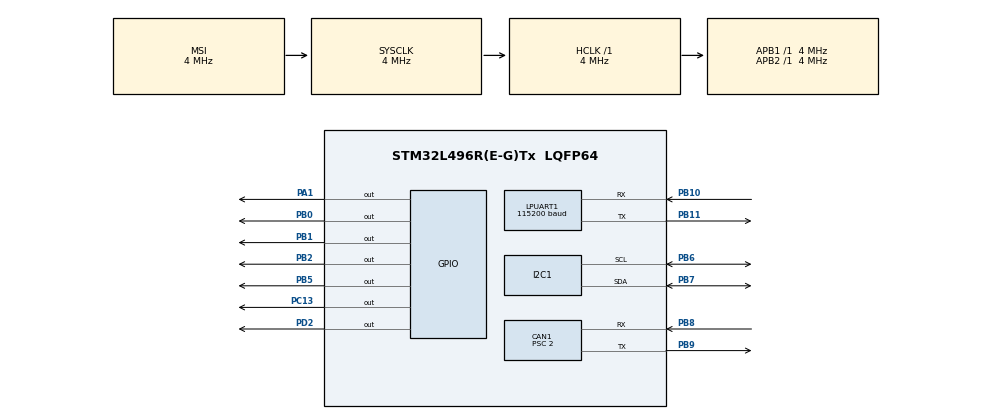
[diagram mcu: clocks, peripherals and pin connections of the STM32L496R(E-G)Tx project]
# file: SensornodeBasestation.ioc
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CAN1.BS1=CAN_BS1_6TQ
CAN1.BS2=CAN_BS2_8TQ
CAN1.CalculateTimeBit=7500
CAN1.CalculateTimeQuantum=500.0
CAN1.Mode=CAN_MODE_SILENT
CAN1.Prescaler=2
LPUART1.BaudRate=115200
LPUART1.DMADisableonRxErrorParam=UART_ADVFEATURE_DMA_DISABLEONRXERROR
LPUART1.OverrunDisableParam=UART_ADVFEATURE_OVERRUN_DISABLE
LPUART1.WordLength=UART_WORDLENGTH_8B
Mcu.Family=STM32L4
Mcu.Name=STM32L496R(E-G)Tx
Mcu.Package=LQFP64
NVIC.CAN1_RX0_IRQn=true\:0\:0\:false\:true\:true\:1\:true
NVIC.CAN1_TX_IRQn=true\:0\:0\:false\:true\:true\:2\:true
NVIC.FPU_IRQn=true\:0\:0\:false\:false\:true\:true
NVIC.LPUART1_IRQn=true\:0\:0\:false\:false\:true\:true
NVIC.PriorityGroup=NVIC_PRIORITYGROUP_4
NVIC.RCC_IRQn=true\:0\:0\:false\:false\:true\:true
NVIC.TIM2_IRQn=true\:0\:0\:false\:false\:true\:true
PA1.Signal=GPIO_Output
PB0.Signal=GPIO_Output
PB1.Signal=GPIO_Output
PB10.Mode=Asynchronous
PB10.Signal=LPUART1_RX
PB11.Mode=Asynchronous
PB11.Signal=LPUART1_TX
PB2.Signal=GPIO_Output
PB5.PinState=GPIO_PIN_RESET
PB5.Signal=GPIO_Output
PB6.Mode=I2C
PB6.Signal=I2C1_SCL
PB7.Mode=I2C
PB7.Signal=I2C1_SDA
PB8.Mode=Master
PB8.Signal=CAN1_RX
PB9.Mode=Master
PB9.Signal=CAN1_TX
PC13.PinState=GPIO_PIN_SET
PC13.Signal=GPIO_Output
PD2.Signal=GPIO_Output
ProjectManager.HeapSize=0x200
ProjectManager.StackSize=0x400
ProjectManager.TargetToolchain=SW4STM32
RCC.ADCFreq_Value=16000000
RCC.AHBFreq_Value=4000000
RCC.APB1Freq_Value=4000000
RCC.APB1TimFreq_Value=4000000
RCC.APB2Freq_Value=4000000
RCC.APB2TimFreq_Value=4000000
RCC.CortexFreq_Value=4000000
RCC.HCLKFreq_Value=4000000
RCC.HSE_VALUE=8000000
RCC.HSI48_VALUE=48000000
RCC.HSI_VALUE=16000000
RCC.LSE_VALUE=32768
RCC.MSI_VALUE=4000000
RCC.SYSCLKFreq_VALUE=4000000
RCC.USBFreq_Value=16000000
RCC.VCOOutputFreq_Value=32000000
TIM2.Period=5000
TIM2.Prescaler=4000
VP_TIM2_VS_ClockSourceINT.Mode=Internal
board=SensornodeBasestation

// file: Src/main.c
/**
  ******************************************************************************
  * File Name          : main.c
  * Description        : Main program body
  ******************************************************************************
  ** This notice applies to any and all portions of this file
  * that are not between comment pairs USER CODE BEGIN and
  * USER CODE END. Other portions of this file, whether
  * inserted by the user or by software development tools
  * are owned by their respective copyright owners.
  *
  * COPYRIGHT(c) 2018 STMicroelectronics
  *
  * Redistribution and use in source and binary forms, with or without modification,
  * are permitted provided that the following conditions are met:
  *   1. Redistributions of source code must retain the above copyright notice,
  *      this list of conditions and the following disclaimer.
  *   2. Redistributions in binary form must reproduce the above copyright notice,
  *      this list of conditions and the following disclaimer in the documentation
  *      and/or other materials provided with the distribution.
  *   3. Neither the name of STMicroelectronics nor the names of its contributors
  *      may be used to endorse or promote products derived from this software
  *      without specific prior written permission.
  *
  * THIS SOFTWARE IS PROVIDED BY THE COPYRIGHT HOLDERS AND CONTRIBUTORS "AS IS"
  * AND ANY EXPRESS OR IMPLIED WARRANTIES, INCLUDING, BUT NOT LIMITED TO, THE
  * IMPLIED WARRANTIES OF MERCHANTABILITY AND FITNESS FOR A PARTICULAR PURPOSE ARE
  * DISCLAIMED. IN NO EVENT SHALL THE COPYRIGHT HOLDER OR CONTRIBUTORS BE LIABLE
  * FOR ANY DIRECT, INDIRECT, INCIDENTAL, SPECIAL, EXEMPLARY, OR CONSEQUENTIAL
  * DAMAGES (INCLUDING, BUT NOT LIMITED TO, PROCUREMENT OF SUBSTITUTE GOODS OR
  * SERVICES; LOSS OF USE, DATA, OR PROFITS; OR BUSINESS INTERRUPTION) HOWEVER
  * CAUSED AND ON ANY THEORY OF LIABILITY, WHETHER IN CONTRACT, STRICT LIABILITY,
  * OR TORT (INCLUDING NEGLIGENCE OR OTHERWISE) ARISING IN ANY WAY OUT OF THE USE
  * OF THIS SOFTWARE, EVEN IF ADVISED OF THE POSSIBILITY OF SUCH DAMAGE.
  *
  ******************************************************************************
  */
#include "main.h"
#include "stm32l4xx_hal.h"
#include "can.h"
#include "i2c.h"
#include "usart.h"
#include "tim.h"
#include "gpio.h"

/* USER CODE BEGIN Includes */
#include <string.h>

#define NODEID 1 // id of sensor node
#define SHT_ADDRESS (0x44 << 1) // I2C address of SHT31-DIS-B sensor
#define SHT_MEASURE_COMMAND 0x2400 // measurement command for SHT31-DIS-B sensor
/* USER CODE END Includes */

/* USER CODE BEGIN PV */
/* Private variables ---------------------------------------------------------*/
static uint8_t shtMeasureData[5]; // measurement data (temperature and humidity) from SHT31-DIS-B sensor
static uint16_t st; // raw sensor output for temperature
static uint16_t srh; // raw sensor output for humidity
static float temperature; // value of temperature
static uint8_t humidity; // value of humidity

static CanTxMsgTypeDef txMessage;
static CanRxMsgTypeDef rxMessage;
static CAN_FilterConfTypeDef  filterConfig;

static char nodeId[3]; // id of sensor node
static char topic[30]; // MQTT topic name

uint8_t timer2Lock = 1;
uint8_t canLock = 1;
/* USER CODE END PV */

void SystemClock_Config(void);
static void MX_NVIC_Init(void);

/* USER CODE BEGIN PFP */
/* Private function prototypes -----------------------------------------------*/
void esp8266Init();
void canInit();
void i2cInit();
void timerInit();
void CANFilter(CAN_FilterConfTypeDef *filter);
float readTemperature();
uint8_t readHumidity();
void readCan();
void setTopic(char subTopic[]);
void send(char topic[], float value);
/* USER CODE END PFP */

int main(void)
{

  /* USER CODE BEGIN 1 */
  sprintf(nodeId, "%d", NODEID); // save node id into a character array
  /* USER CODE END 1 */

  /* MCU Configuration----------------------------------------------------------*/

  /* Reset of all peripherals, Initializes the Flash interface and the Systick. */
  HAL_Init();

  /* Configure the system clock */
  SystemClock_Config();

  /* Initialize all configured peripherals */
  MX_GPIO_Init();
  MX_CAN1_Init();
  MX_I2C1_Init();
  MX_LPUART1_UART_Init();
  MX_TIM2_Init();

  /* Initialize interrupts */
  MX_NVIC_Init();

  /* USER CODE BEGIN 2 */
  esp8266Init();
  canInit();
  i2cInit();
  timerInit();
  /* USER CODE END 2 */

  /* Infinite loop */
  /* USER CODE BEGIN WHILE */
  while (1)
  {
	  if (timer2Lock == 0){
		  temperature = readTemperature();
		  humidity = readHumidity();

		  setTopic("temperature");
		  send(topic, temperature);
		  setTopic("humidity");
		  send(topic, humidity);

		  timer2Lock = 1;
	  }

	  if (canLock == 0){
		  readCan();

		  canLock = 1;
	  }
  /* USER CODE END WHILE */

  }

}

/** System Clock Configuration
*/
void SystemClock_Config(void)
{

  RCC_OscInitTypeDef RCC_OscInitStruct;
  RCC_ClkInitTypeDef RCC_ClkInitStruct;
  RCC_PeriphCLKInitTypeDef PeriphClkInit;

    /**Initializes the CPU, AHB and APB busses clocks
    */
  RCC_OscInitStruct.OscillatorType = RCC_OSCILLATORTYPE_MSI;
  RCC_OscInitStruct.MSIState = RCC_MSI_ON;
  RCC_OscInitStruct.MSICalibrationValue = 0;
  RCC_OscInitStruct.MSIClockRange = RCC_MSIRANGE_6;
  RCC_OscInitStruct.PLL.PLLState = RCC_PLL_NONE;
  if (HAL_RCC_OscConfig(&RCC_OscInitStruct) != HAL_OK)
  {
    _Error_Handler(__FILE__, __LINE__);
  }

    /**Initializes the CPU, AHB and APB busses clocks
    */
  RCC_ClkInitStruct.ClockType = RCC_CLOCKTYPE_HCLK|RCC_CLOCKTYPE_SYSCLK
                              |RCC_CLOCKTYPE_PCLK1|RCC_CLOCKTYPE_PCLK2;
  RCC_ClkInitStruct.SYSCLKSource = RCC_SYSCLKSOURCE_MSI;
  RCC_ClkInitStruct.AHBCLKDivider = RCC_SYSCLK_DIV1;
  RCC_ClkInitStruct.APB1CLKDivider = RCC_HCLK_DIV1;
  RCC_ClkInitStruct.APB2CLKDivider = RCC_HCLK_DIV1;

  if (HAL_RCC_ClockConfig(&RCC_ClkInitStruct, FLASH_LATENCY_0) != HAL_OK)
  {
    _Error_Handler(__FILE__, __LINE__);
  }

  PeriphClkInit.PeriphClockSelection = RCC_PERIPHCLK_LPUART1|RCC_PERIPHCLK_I2C1;
  PeriphClkInit.Lpuart1ClockSelection = RCC_LPUART1CLKSOURCE_PCLK1;
  PeriphClkInit.I2c1ClockSelection = RCC_I2C1CLKSOURCE_PCLK1;
  if (HAL_RCCEx_PeriphCLKConfig(&PeriphClkInit) != HAL_OK)
  {
    _Error_Handler(__FILE__, __LINE__);
  }

    /**Configure the main internal regulator output voltage
    */
  if (HAL_PWREx_ControlVoltageScaling(PWR_REGULATOR_VOLTAGE_SCALE1) != HAL_OK)
  {
    _Error_Handler(__FILE__, __LINE__);
  }

    /**Configure the Systick interrupt time
    */
  HAL_SYSTICK_Config(HAL_RCC_GetHCLKFreq()/1000);

    /**Configure the Systick
    */
  HAL_SYSTICK_CLKSourceConfig(SYSTICK_CLKSOURCE_HCLK);

  /* SysTick_IRQn interrupt configuration */
  HAL_NVIC_SetPriority(SysTick_IRQn, 0, 0);
}

/** NVIC Configuration
*/
static void MX_NVIC_Init(void)
{
  /* CAN1_RX0_IRQn interrupt configuration */
  HAL_NVIC_SetPriority(CAN1_RX0_IRQn, 0, 0);
  HAL_NVIC_EnableIRQ(CAN1_RX0_IRQn);
  /* CAN1_TX_IRQn interrupt configuration */
  HAL_NVIC_SetPriority(CAN1_TX_IRQn, 0, 0);
  HAL_NVIC_EnableIRQ(CAN1_TX_IRQn);
}

/* USER CODE BEGIN 4 */
void esp8266Init()
{
	HAL_GPIO_WritePin(GPIOB, GPIO_PIN_2, SET); // regulator for ESP8266
	HAL_GPIO_WritePin(GPIOB, GPIO_PIN_1, SET); // enable ESP8266
	HAL_GPIO_WritePin(GPIOB, GPIO_PIN_0, SET); // set ESP 8266 reset pin to HIGH
	HAL_Delay(2000);
}

void canInit()
{
	HAL_GPIO_WritePin(GPIOB, GPIO_PIN_5, SET); // enable regulator for CAN transceiver and SHT sensor
	hcan1.pTxMsg = &txMessage;
	hcan1.pRxMsg = &rxMessage;
	CANFilter(&filterConfig);
	HAL_CAN_Receive_IT(&hcan1,CAN_FIFO0);
}

void i2cInit()
{
	HAL_I2C_Mem_Read(&hi2c1, SHT_ADDRESS, SHT_MEASURE_COMMAND, 2, shtMeasureData, 5, 1000); // read from SHT sensor
}

void timerInit()
{
	HAL_TIM_Base_Start_IT(&htim2);
}

void CANFilter(CAN_FilterConfTypeDef *filter)
{
	filter->FilterNumber = 0;
	filter->FilterMode = CAN_FILTERMODE_IDMASK;
	filter->FilterScale = CAN_FILTERSCALE_32BIT;
	filter->FilterIdHigh = 0x0000;
	filter->FilterIdLow = 0x0000;
	filter->FilterMaskIdHigh = 0x0000;
	filter->FilterMaskIdLow = 0x0000;
	filter->FilterFIFOAssignment = 0;
	filter->FilterActivation = ENABLE;
	filter->BankNumber = 14;

    HAL_CAN_ConfigFilter(&hcan1, filter);
}

float readTemperature()
{
	uint8_t ready = -1;
	uint8_t read = -1;
	float temperature;

	while (ready != 0 && read != 0){
		ready = HAL_I2C_IsDeviceReady(&hi2c1, SHT_ADDRESS, 3, 1000); // check connection to SHT sensor
		read = HAL_I2C_Mem_Read(&hi2c1, SHT_ADDRESS, SHT_MEASURE_COMMAND, 2, shtMeasureData, 5, 1000); // read from SHT sensor
	}

	st = shtMeasureData[0]*256 + shtMeasureData[1]; // raw sensor output for temperature
	temperature = (-45 + (float)(175*st)/65535); // value of temperature in Celsius

	return temperature;
}

uint8_t readHumidity()
{
	uint8_t ready = -1;
	uint8_t read = -1;
	uint8_t humidity;

	while (ready != 0 && read != 0){
		ready = HAL_I2C_IsDeviceReady(&hi2c1, SHT_ADDRESS, 3, 1000); // check connection to SHT sensor
		read = HAL_I2C_Mem_Read(&hi2c1, SHT_ADDRESS, SHT_MEASURE_COMMAND, 2, shtMeasureData, 5, 1000); // read from SHT sensor
	}

	srh = shtMeasureData[3]*256 + shtMeasureData[4]; // raw sensor output for humidity
	humidity = (uint32_t)((100*srh)/65535); // value of humidity in %

	return humidity;
}

void readCan()
{
	// format of received string: <node id>, <sensor type (t-temperature, h-humidity)>, <sensor value>
	char receiveString[30]; // message from another sensor node
	char topic[30]; // MQTT topic name
	char data[5]; // sensor value
	char sensorType; // sensor type (t-temperature, h-humidity)
	char* subString; // for split message
	char nodeId[3]; // id of sender node
	float temperature; // value of temperature
	int8_t humidity; // value of humidity

	strcpy(receiveString, (char *)hcan1.pRxMsg->Data);
	subString = strtok(receiveString, ",");
	strcpy(nodeId, subString);
	subString = strtok(NULL, ",");
	sensorType = *subString;
	subString = strtok(NULL, ",");
	strcpy(data, subString);

	strcpy(topic, "sensornode/");
	strcat(topic, nodeId);

	switch (sensorType)
	{
		case 't':
			strcat(topic, "/temperature");
			sscanf(data, "%f", (float *)&temperature);
			send(topic, temperature);
			break;
		case 'h':
			strcat(topic, "/humidity");
			sscanf(data, "%d", (int *)&humidity);
			send(topic, humidity);
			break;
	}
}

void setTopic(char subTopic[])
{
	strcpy(topic, "sensornode/");
	strcat(topic, nodeId);
	strcat(topic, "/");
    strcat(topic, subTopic);
}

void send(char topic[], float value)
{
	char data[10];
	char payload[30];

	sprintf(data, "%.1f" , value);
	strcpy(payload, topic);
	strcat(payload, ": ");
	strcat(payload, data);
	strcat(payload, "\n");

	HAL_UART_Transmit(&hlpuart1, (uint8_t *)payload, strlen(payload), 1000);
}
/* USER CODE END 4 */

void _Error_Handler(char * file, int line)
{
  while(1)
  {
  }
}

/************************ (C) COPYRIGHT STMicroelectronics *****END OF FILE****/
